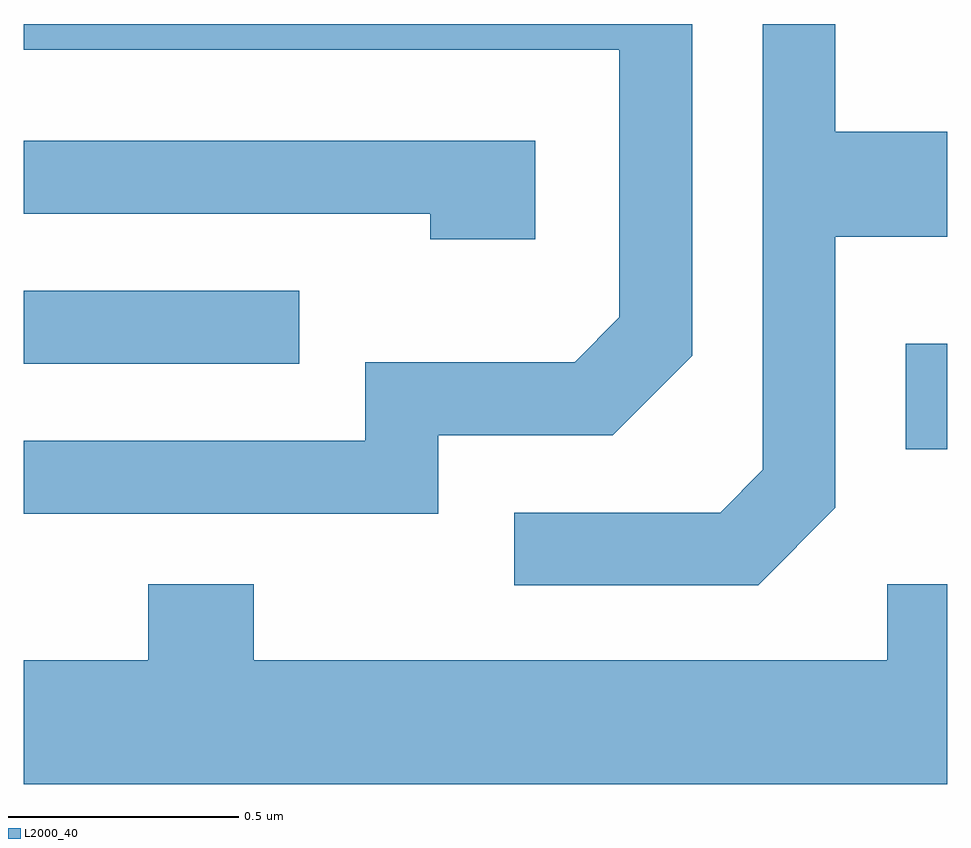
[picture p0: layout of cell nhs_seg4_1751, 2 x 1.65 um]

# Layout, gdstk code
import gdstk
lib = gdstk.Library(unit=1e-6, precision=1e-09)
def R(c, l, rs):  # rectangles x0, y0, x1, y1
    for r in rs: c.add(gdstk.rectangle(r[:2], r[2:], *l))
def P(c, l, *ps):  # polygons
    for p in ps: c.add(gdstk.Polygon(p, *l))
L2000_40 = (2000, 40)

nhs_seg4_1751 = lib.new_cell('nhs_seg4_1751')
R(nhs_seg4_1751, L2000_40, [(199.521,1362.061,199.611,1362.289), (197.611,1362.246,198.208,1362.404)])
P(nhs_seg4_1751, L2000_40, [(198.509,1362.091),(198.887,1362.091),(199.059,1362.264),(199.059,1362.982),(197.611,1362.982),(197.611,1362.926),(198.901,1362.926),(198.901,1362.347),(198.804,1362.249),(198.351,1362.249),(198.351,1362.079),(197.611,1362.079),(197.611,1361.921),(198.509,1361.921)],
  [(199.369,1361.934),(199.369,1362.521),(199.611,1362.521),(199.611,1362.749),(199.369,1362.749),(199.369,1362.982),(199.211,1362.982),(199.211,1362.017),(199.119,1361.924),(198.673,1361.924),(198.673,1361.766),(199.202,1361.766)],
  [(198.719,1362.729),(197.611,1362.729),(197.611,1362.571),(198.491,1362.571),(198.491,1362.516),(198.719,1362.516)],
  [(199.611,1361.769),(199.481,1361.769),(199.481,1361.604),(198.109,1361.604),(198.109,1361.769),(197.881,1361.769),(197.881,1361.604),(197.611,1361.604),(197.611,1361.336),(199.611,1361.336)])

lib.write_gds('nhs_seg4_1751.gds')
